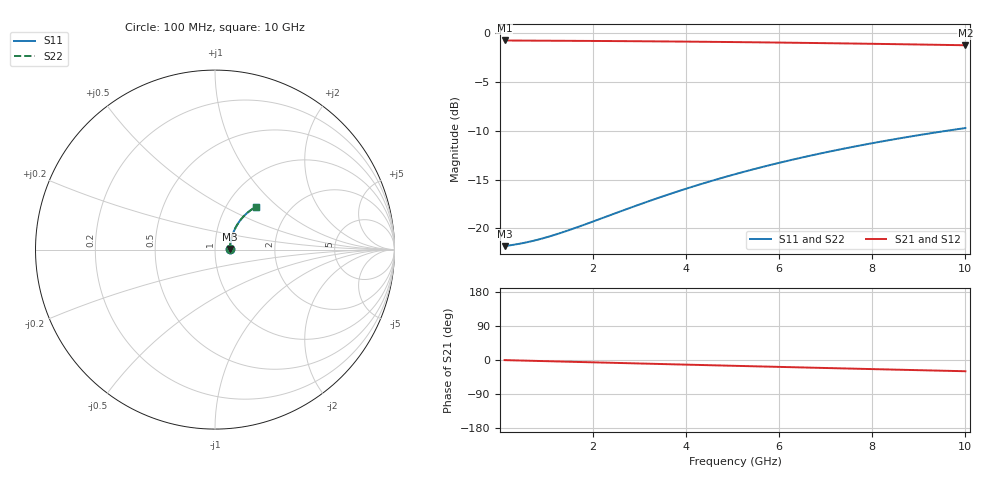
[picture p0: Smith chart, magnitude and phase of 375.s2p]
# Hz S RI R 50.00
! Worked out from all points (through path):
!   100 points, 100 MHz to 10 GHz, reference 50 ohm
!   highest |S21| = -0.73 dB at 100 MHz (marker M1); lowest = -1.2 dB at 10 GHz (marker M2)
!   group delay of S21, straight-line fit = 8.25 ps
!   lowest |S11| = -21.8 dB at 100 MHz (marker M3), VSWR 1.18, Z = 58.8 + j0.358 ohm
!   |S11| at or under -10 dB: start of sweep to 9.589 GHz
!   |S22| runs from -21.8 to -9.7 dB; largest |S21 - S12| = 0
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1e8  0.081 0.00302  0.919 -0.00494  0.919 -0.00494  0.081 0.00302
5e8  0.0828 0.015  0.9171 -0.0247  0.9171 -0.0247  0.0828 0.015
7e8  0.0836 0.021  0.9163 -0.0345  0.9163 -0.0345  0.0836 0.021
9e8  0.0844 0.027  0.9154 -0.0443  0.9154 -0.0443  0.0844 0.027
1.1e9  0.0854 0.0329  0.9144 -0.0541  0.9144 -0.0541  0.0854 0.0329
1.3e9  0.0864 0.0388  0.9133 -0.0638  0.9133 -0.0638  0.0864 0.0388
1.8e9  0.0894 0.0535  0.9099 -0.0881  0.9099 -0.0881  0.0894 0.0535
2.8e9  0.0975 0.0822  0.9009 -0.136  0.9009 -0.136  0.0975 0.0822
3.4e9  0.1037 0.0988  0.894 -0.1642  0.894 -0.1642  0.1037 0.0988
3.8e9  0.1084 0.1096  0.8887 -0.1827  0.8887 -0.1827  0.1084 0.1096
4.2e9  0.1136 0.1202  0.883 -0.201  0.883 -0.201  0.1136 0.1202
4.6e9  0.1191 0.1305  0.8768 -0.219  0.8768 -0.219  0.1191 0.1305
5.1e9  0.1266 0.143  0.8684 -0.2411  0.8684 -0.2411  0.1266 0.143
5.5e9  0.133 0.1527  0.8611 -0.2585  0.8611 -0.2585  0.133 0.1527
5.9e9  0.1398 0.162  0.8534 -0.2756  0.8534 -0.2756  0.1398 0.162
6.3e9  0.1469 0.171  0.8454 -0.2923  0.8454 -0.2923  0.1469 0.171
6.7e9  0.1544 0.1797  0.8369 -0.3087  0.8369 -0.3087  0.1544 0.1797
7.5e9  0.1702 0.1959  0.8189 -0.3404  0.8189 -0.3404  0.1702 0.1959
7.9e9  0.1785 0.2034  0.8093 -0.3557  0.8093 -0.3557  0.1785 0.2034
8.4e9  0.1892 0.2123  0.797 -0.3743  0.797 -0.3743  0.1892 0.2123
9.2e9  0.2071 0.2252  0.7763 -0.4027  0.7763 -0.4027  0.2071 0.2252
1e10  0.2257 0.2365  0.7546 -0.4296  0.7546 -0.4296  0.2257 0.2365
